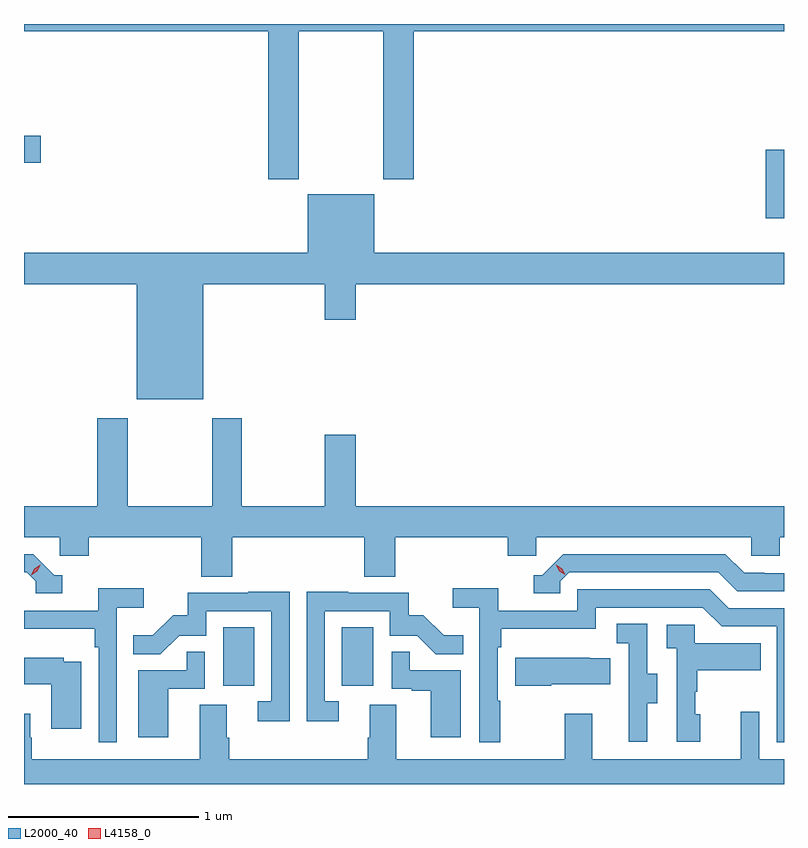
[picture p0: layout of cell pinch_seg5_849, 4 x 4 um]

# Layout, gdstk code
import gdstk
lib = gdstk.Library(unit=1e-6, precision=1e-09)
def R(c, l, rs):  # rectangles x0, y0, x1, y1
    for r in rs: c.add(gdstk.rectangle(r[:2], r[2:], *l))
def P(c, l, *ps):  # polygons
    for p in ps: c.add(gdstk.Polygon(p, *l))
L2000_40 = (2000, 40)
L4158_0 = (4158, 0)

pinch_seg5_849 = lib.new_cell('pinch_seg5_849')
R(pinch_seg5_849, L2000_40, [(835.802,886.614,835.966,886.921), (836.426,886.614,836.59,886.921), (838.658,889.074,838.753,889.435), (834.753,889.366,834.841,889.508)])
P(pinch_seg5_849, L2000_40, [(836.199,890.06),(836.644,890.06),(836.644,889.281),(836.804,889.281),(836.804,890.06),(838.753,890.06),(838.753,890.097),(834.753,890.097),(834.753,890.06),(836.039,890.06),(836.039,889.281),(836.199,889.281)],
  [(835.696,888.728),(836.336,888.728),(836.336,888.54),(836.5,888.54),(836.5,888.728),(838.753,888.728),(838.753,888.892),(836.596,888.892),(836.596,889.201),(836.246,889.201),(836.246,888.892),(834.753,888.892),(834.753,888.728),(835.346,888.728),(835.346,888.122),(835.696,888.122)],
  [(836.5,887.935),(836.336,887.935),(836.336,887.56),(835.899,887.56),(835.899,888.022),(835.744,888.022),(835.744,887.56),(835.299,887.56),(835.299,888.022),(835.139,888.022),(835.139,887.56),(834.753,887.56),(834.753,887.396),(834.942,887.396),(834.942,887.298),(835.094,887.298),(835.094,887.396),(835.685,887.396),(835.685,887.188),(835.85,887.188),(835.85,887.396),(836.543,887.396),(836.543,887.188),(836.708,887.188),(836.708,887.396),(837.299,887.396),(837.299,887.298),(837.45,887.298),(837.45,887.396),(838.581,887.396),(838.581,887.298),(838.731,887.298),(838.731,887.396),(838.753,887.396),(838.753,887.56),(836.5,887.56)],
  [(834.955,887.196),(834.912,887.196),(834.801,887.307),(834.753,887.307),(834.753,887.211),(834.768,887.211),(834.816,887.163),(834.816,887.1),(834.955,887.1)],
  [(837.576,887.163),(837.624,887.211),(838.407,887.211),(838.506,887.112),(838.753,887.112),(838.753,887.205),(838.65,887.205),(838.65,887.208),(838.543,887.208),(838.444,887.307),(837.591,887.307),(837.48,887.196),(837.437,887.196),(837.437,887.1),(837.576,887.1)],
  [(837.259,886.535),(837.246,886.535),(837.246,886.817),(837.266,886.817),(837.266,886.913),(837.762,886.913),(837.762,887.025),(838.326,887.025),(838.425,886.926),(838.716,886.926),(838.716,886.317),(838.753,886.317),(838.753,887.022),(838.462,887.022),(838.363,887.121),(837.666,887.121),(837.666,887.01),(837.248,887.01),(837.248,887.126),(837.009,887.126),(837.009,887.024),(837.15,887.024),(837.15,886.317),(837.259,886.317)],
  [(835.242,887.024),(835.384,887.024),(835.384,887.126),(835.145,887.126),(835.145,887.01),(834.753,887.01),(834.753,886.913),(835.126,886.913),(835.126,886.817),(835.146,886.817),(835.146,886.317),(835.242,886.317)],
  [(836.41,886.533),(836.337,886.533),(836.337,887.007),(836.679,887.007),(836.679,886.878),(836.823,886.878),(836.921,886.78),(837.065,886.78),(837.065,886.879),(836.961,886.879),(836.854,886.986),(836.778,886.986),(836.778,887.103),(836.459,887.103),(836.459,887.108),(836.241,887.108),(836.241,886.428),(836.41,886.428)],
  [(836.151,887.108),(835.933,887.108),(835.933,887.103),(835.615,887.103),(835.615,886.986),(835.538,886.986),(835.431,886.879),(835.327,886.879),(835.327,886.78),(835.471,886.78),(835.569,886.878),(835.713,886.878),(835.713,887.007),(836.055,887.007),(836.055,886.533),(835.983,886.533),(835.983,886.428),(836.151,886.428)],
  [(838.033,886.522),(838.087,886.522),(838.087,886.677),(838.032,886.677),(838.032,886.94),(837.873,886.94),(837.873,886.837),(837.936,886.837),(837.936,886.533),(837.935,886.533),(837.935,886.32),(838.033,886.32)],
  [(838.312,886.464),(838.287,886.464),(838.287,886.583),(838.297,886.583),(838.297,886.697),(838.631,886.697),(838.631,886.837),(838.284,886.837),(838.284,886.935),(838.137,886.935),(838.137,886.811),(838.188,886.811),(838.188,886.32),(838.312,886.32)],
  [(837.052,886.695),(836.783,886.695),(836.783,886.793),(836.688,886.793),(836.688,886.599),(836.795,886.599),(836.795,886.587),(836.894,886.587),(836.894,886.344),(837.052,886.344)],
  [(835.513,886.599),(835.704,886.599),(835.704,886.793),(835.609,886.793),(835.609,886.695),(835.355,886.695),(835.355,886.344),(835.513,886.344)],
  [(835.054,886.741),(834.963,886.741),(834.963,886.762),(834.753,886.762),(834.753,886.622),(834.896,886.622),(834.896,886.389),(835.054,886.389)],
  [(837.529,886.622),(837.839,886.622),(837.839,886.759),(837.731,886.759),(837.731,886.762),(837.338,886.762),(837.338,886.615),(837.529,886.615)],
  [(838.753,886.228),(838.623,886.228),(838.623,886.477),(838.526,886.477),(838.526,886.228),(837.745,886.228),(837.745,886.468),(837.598,886.468),(837.598,886.228),(836.713,886.228),(836.713,886.514),(836.573,886.514),(836.573,886.34),(836.561,886.34),(836.561,886.228),(835.832,886.228),(835.832,886.34),(835.819,886.34),(835.819,886.514),(835.679,886.514),(835.679,886.228),(834.795,886.228),(834.795,886.34),(834.787,886.34),(834.787,886.468),(834.753,886.468),(834.753,886.097),(838.753,886.097)])
P(pinch_seg5_849, L4158_0, [(834.791,887.197),(834.791,887.197),(834.808,887.23),(834.839,887.25),(834.839,887.25),(834.839,887.249),(834.823,887.216),(834.792,887.197)],
  [(837.601,887.198),(837.57,887.218),(837.555,887.251),(837.555,887.251),(837.555,887.251),(837.586,887.231),(837.601,887.198),(837.601,887.198)])

lib.write_gds('pinch_seg5_849.gds')
